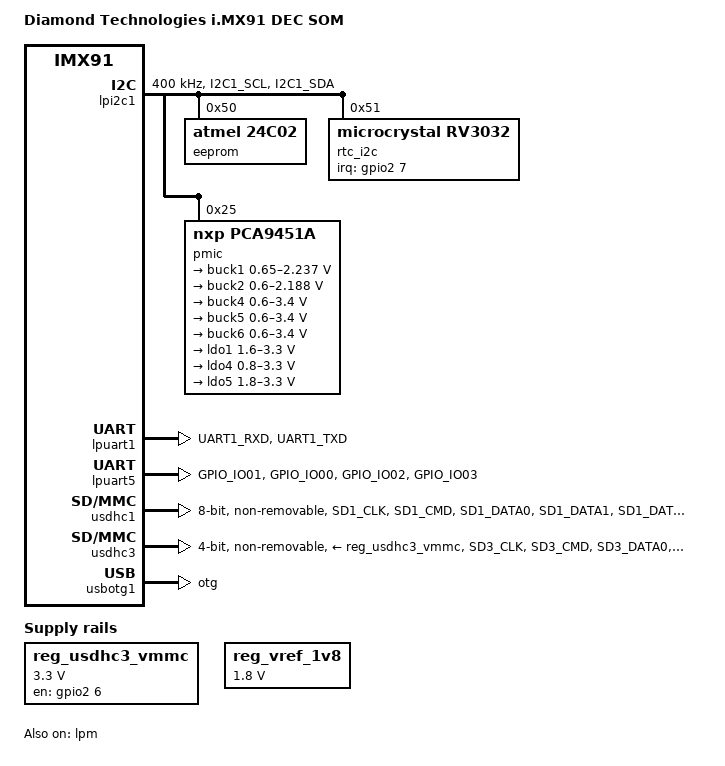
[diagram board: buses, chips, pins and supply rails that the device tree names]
// SPDX-License-Identifier: (GPL-2.0+ OR MIT)
/*
 * Copyright 2022 NXP
 */

 /dts-v1/;

 #include <dt-bindings/usb/pd.h>
 #include "imx91.dtsi"
 
 
 &ele_fw2 {
	 memory-region = <&ele_reserved>;
 };
 
 / {
	 model = "Diamond Technologies i.MX91 DEC SOM";
	 compatible = "dec,imx91-dec-kit", "fsl,imx91";

	 chosen {
		bootargs = "console=ttyLP0,115200";
		stdout-path = &lpuart1;
	};

	reserved-memory {
		#address-cells = <2>;
		#size-cells = <2>;
		ranges;

		linux,cma {
		   compatible = "shared-dma-pool";
		   reusable;
		   alloc-ranges = <0 0x80000000 0 0x10000000>;
		   size = <0 0x2000000>;
		   linux,cma-default;
	   };

		ele_reserved: ele-reserved@84120000 {
			compatible = "shared-dma-pool";
			reg = <0 0x84120000 0 0x100000>;
			no-map;
		};
	};
/*
	 usdhc3_pwrseq: usdhc3_pwrseq {
		pinctrl-names = "default";
		pinctrl-0 = <&pinctrl_wifi_rst>;
		compatible = "mmc-pwrseq-simple";
		reset-gpios = <&gpio2 4 GPIO_ACTIVE_HIGH>,		// WL_RST 
					  <&gpio2 5 GPIO_ACTIVE_HIGH>;   	// BT_RST 
	};
*/	

	reg_usdhc3_vmmc: regulator-usdhc3 {
		pinctrl-names = "default";
		pinctrl-0 = <&pinctrl_wifi_reg>;		
		compatible = "regulator-fixed";
		regulator-name = "WL_REG_ON";
		regulator-min-microvolt = <3300000>;
		regulator-max-microvolt = <3300000>;
		gpio = <&gpio2 6 GPIO_ACTIVE_HIGH>; /* WL_REG_ON connects to PDn signal on IW612 */
		/*
		 * IW612 wifi chip needs more delay than other wifi chips to complete
		 * the host interface initialization after power up, otherwise the
		 * internal state of IW612 may be unstable, resulting in the failure of
		 * the SDIO3.0 switch voltage.
		 */
		startup-delay-us = <20000>;
		enable-active-high;
	};

	reg_vref_1v8: regulator-adc-vref {
		compatible = "regulator-fixed";
		regulator-name = "vref_1v8";
		regulator-min-microvolt = <1800000>;
		regulator-max-microvolt = <1800000>;
	};	
 };
	 
 
 &lpm {
	 soc-supply = <&buck1>;
	 status = "okay";
 };
 

 &lpi2c1 {
	#address-cells = <1>;
	#size-cells = <0>;
	clock-frequency = <400000>;
	pinctrl-names = "default", "sleep";
	pinctrl-0 = <&pinctrl_lpi2c1>;
	pinctrl-1 = <&pinctrl_lpi2c1>;
	status = "okay";

	/* eeprom on som */
	eeprom@50 {
		compatible = "atmel,24c02";
		reg = <0x50>;
		pagesize = <16>;		
	};

	rtc_i2c: rtc@51 {
		compatible = "microcrystal,rv3032";
		reg = <0x51>;
		interrupts = <7 IRQ_TYPE_LEVEL_LOW>;
		interrupt-parent = <&gpio2>;
		pinctrl-names = "default";
		pinctrl-0 = <&pinctrl_rtc>;
	};

	pmic@25 {
		compatible = "nxp,pca9451a";
		reg = <0x25>;

		regulators {
			buck1: BUCK1 {
				regulator-name = "BUCK1";
				regulator-min-microvolt = <650000>;
				regulator-max-microvolt = <2237500>;
				regulator-boot-on;
				regulator-always-on;
				regulator-ramp-delay = <3125>;
			};

			buck2: BUCK2 {
				regulator-name = "BUCK2";
				regulator-min-microvolt = <600000>;
				regulator-max-microvolt = <2187500>;
				regulator-boot-on;
				regulator-always-on;
				regulator-ramp-delay = <3125>;
			};

			buck4: BUCK4{
				regulator-name = "BUCK4";
				regulator-min-microvolt = <600000>;
				regulator-max-microvolt = <3400000>;
				regulator-boot-on;
				regulator-always-on;
			};

			buck5: BUCK5{
				regulator-name = "BUCK5";
				regulator-min-microvolt = <600000>;
				regulator-max-microvolt = <3400000>;
				regulator-boot-on;
				regulator-always-on;
			};

			buck6: BUCK6 {
				regulator-name = "BUCK6";
				regulator-min-microvolt = <600000>;
				regulator-max-microvolt = <3400000>;
				regulator-boot-on;
				regulator-always-on;
			};

			ldo1: LDO1 {
				regulator-name = "LDO1";
				regulator-min-microvolt = <1600000>;
				regulator-max-microvolt = <3300000>;
				regulator-boot-on;
				regulator-always-on;
			};

			ldo4: LDO4 {
				regulator-name = "LDO4";
				regulator-min-microvolt = <800000>;
				regulator-max-microvolt = <3300000>;
				regulator-boot-on;
				regulator-always-on;
			};

			ldo5: LDO5 {
				regulator-name = "LDO5";
				regulator-min-microvolt = <1800000>;
				regulator-max-microvolt = <3300000>;
				regulator-boot-on;
				regulator-always-on;
			};
		};
	};
 };
 
 
 &lpuart1 { /* console */
	 pinctrl-names = "default";
	 pinctrl-0 = <&pinctrl_uart1>;
	 status = "okay";
 };

 &lpuart5 { /* bluetooth */
	pinctrl-names = "default";
	assigned-clocks = <&clk IMX91_CLK_LPUART5>;
	assigned-clock-parents = <&clk IMX91_CLK_24M>;
	pinctrl-0 = <&pinctrl_uart5>;
	fsl,uart-has-rtscts;
	status = "okay";
};
 


 &usdhc1 {
	 pinctrl-names = "default", "state_100mhz", "state_200mhz";
	 pinctrl-0 = <&pinctrl_usdhc1>;
	 pinctrl-1 = <&pinctrl_usdhc1>;
	 pinctrl-2 = <&pinctrl_usdhc1>;
	 bus-width = <8>;
	 non-removable;
	 status = "okay";
 };

 &usdhc3 {
	pinctrl-names = "default", "state_100mhz", "state_200mhz";
	pinctrl-0 = <&pinctrl_usdhc3>;
	pinctrl-1 = <&pinctrl_usdhc3>;
	pinctrl-2 = <&pinctrl_usdhc3>;
	vmmc-supply = <&reg_usdhc3_vmmc>;
	bus-width = <4>;
	keep-power-in-suspend;
	non-removable;
	wakeup-source;
	no-1-8-v;
	status = "okay";
};
 
&usbotg1 {
	dr_mode = "otg";
	disable-over-current;
	samsung,picophy-pre-emp-curr-control = <3>;
	samsung,picophy-dc-vol-level-adjust = <7>;
	status = "okay";
};

&adc1 {
	vref-supply = <&reg_vref_1v8>;
	status = "disabled";
};

 &iomuxc {
 
	 pinctrl_lpi2c1: lpi2c1grp {
		fsl,pins = <
			MX91_PAD_I2C1_SCL__LPI2C1_SCL			0x40000b9e
			MX91_PAD_I2C1_SDA__LPI2C1_SDA			0x40000b9e
		>;
	 };
 
	 pinctrl_uart1: uart1grp {
		fsl,pins = <
			MX91_PAD_UART1_RXD__LPUART1_RX			0x31e
			MX91_PAD_UART1_TXD__LPUART1_TX			0x31e
		>;
	};

	pinctrl_uart5: uart5grp {
		fsl,pins = <
			MX91_PAD_GPIO_IO01__LPUART5_RX			0x31e
			MX91_PAD_GPIO_IO00__LPUART5_TX			0x31e
			MX91_PAD_GPIO_IO02__LPUART5_CTS_B		0x31e
			MX91_PAD_GPIO_IO03__LPUART5_RTS_B       0x31e
		>;
	};	

	pinctrl_usdhc1: usdhc1grp {
		 fsl,pins = <
			 MX91_PAD_SD1_CLK__USDHC1_CLK			0x159e
			 MX91_PAD_SD1_CMD__USDHC1_CMD			0x139e
			 MX91_PAD_SD1_DATA0__USDHC1_DATA0		0x139e
			 MX91_PAD_SD1_DATA1__USDHC1_DATA1		0x139e
			 MX91_PAD_SD1_DATA2__USDHC1_DATA2		0x139e
			 MX91_PAD_SD1_DATA3__USDHC1_DATA3		0x139e
			 MX91_PAD_SD1_DATA4__USDHC1_DATA4		0x139e
			 MX91_PAD_SD1_DATA5__USDHC1_DATA5		0x139e
			 MX91_PAD_SD1_DATA6__USDHC1_DATA6		0x139e
			 MX91_PAD_SD1_DATA7__USDHC1_DATA7		0x139e
			 MX91_PAD_SD1_STROBE__USDHC1_STROBE		0x159e
		 >;
	 };
  
	pinctrl_usdhc3: usdhc3grp {
		fsl,pins = <
			MX91_PAD_SD3_CLK__USDHC3_CLK			0x15fe
			MX91_PAD_SD3_CMD__USDHC3_CMD			0x13fe
			MX91_PAD_SD3_DATA0__USDHC3_DATA0		0x13fe
			MX91_PAD_SD3_DATA1__USDHC3_DATA1        0x13fe
			MX91_PAD_SD3_DATA2__USDHC3_DATA2        0x13fe
			MX91_PAD_SD3_DATA3__USDHC3_DATA3        0x13fe
		>;
	};
	
	pinctrl_rtc: rtcgrp {
		fsl,pins = <
			MX91_PAD_GPIO_IO07__GPIO2_IO7			0x31e /* RTC_nINT */
		>;
	 };

	pinctrl_wifi_reg: wifireggrp {
		fsl,pins = <
			MX91_PAD_GPIO_IO06__GPIO2_IO6			0x31e /* WL_REG_ON */
		>;
	};

	pinctrl_wifi_rst: wifirstgrp {
		fsl,pins = <
			MX91_PAD_GPIO_IO04__GPIO2_IO4			0x31e /* WL_RST */
			MX91_PAD_GPIO_IO05__GPIO2_IO5			0x31e /* BT_RST */
		>;
	};
 };

 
